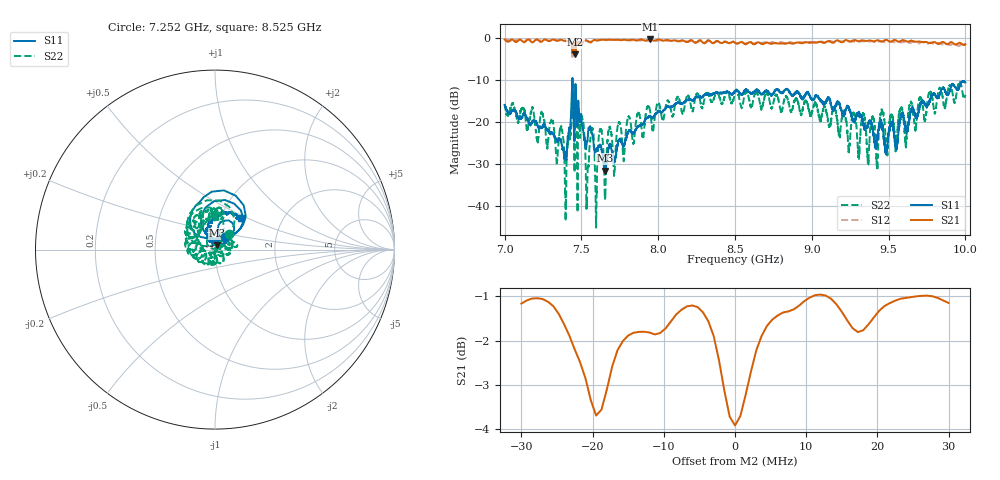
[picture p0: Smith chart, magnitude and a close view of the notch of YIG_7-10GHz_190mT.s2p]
#  HZ  S  RI  R  50.0
! Rohde & Schwarz ZVL13 2Ports - Version 3.31 - 1303.6509k13 SN: 101088
! Date: 2023-03-06 15:25:08
! Data & Calibration Information:
! Trc4:S11(TOSM) Trc2:S21(TOSM) Trc3:S12(TOSM) Trc5:S22(TOSM)
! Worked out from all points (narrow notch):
!   4000 points, 7 GHz to 10 GHz, reference 50 ohm
!   highest |S21| = -0.35 dB at 7.947 GHz (marker M1); lowest = -3.9 dB at 7.461 GHz (marker M2)
!   notch at M2: 3.0 dB deep, 5.01 MHz wide at half that depth
!   lowest |S11| = -31.5 dB at 7.652 GHz (marker M3), VSWR 1.05, Z = 51 + j2.48 ohm
!   |S11| at or under -10 dB: start of sweep to 7.441 GHz; 7.443 GHz to end of sweep
!   |S22| runs from -45.1 to -10.6 dB; largest |S21 - S12| = 0.11
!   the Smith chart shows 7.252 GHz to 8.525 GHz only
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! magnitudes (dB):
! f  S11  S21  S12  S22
! 7 GHz  -15.9  -0.4  -0.5  -15.9
! 7.308 GHz  -22.5  -0.5  -0.6  -19.4
! 7.372 GHz  -25.5  -0.5  -0.5  -21.4
! 7.391 GHz  -28.5  -0.8  -0.7  -30.8
! 7.434 GHz  -16.8  -1.0  -1.0  -20.4
! 7.461 GHz  -11.0  -3.9  -4.0  -12.3
! 7.5 GHz  -19.6  -1.3  -1.0  -17.9
! 7.536 GHz  -24.7  -0.7  -0.8  -38.1
! 7.568 GHz  -22.7  -1.0  -0.8  -21.8
! 7.594 GHz  -26.8  -0.6  -0.7  -42.2
! 7.624 GHz  -25.6  -0.5  -0.6  -21.6
! 7.652 GHz  -31.5  -0.5  -0.6  -37.2
! 7.683 GHz  -25.4  -0.5  -0.6  -21.1
! 7.713 GHz  -29.3  -0.5  -0.6  -32.5
! 7.744 GHz  -24.2  -0.5  -0.6  -20.2
! 7.775 GHz  -25.5  -0.5  -0.6  -28.8
! 7.947 GHz  -18.7  -0.3  -0.7  -17.3
! 8 GHz  -17.4  -0.4  -0.7  -15.4
! 8.5 GHz  -12.6  -1.2  -1.2  -13.2
! 9 GHz  -14.5  -1.2  -1.0  -17.9
! 9.5 GHz  -22.6  -0.8  -0.9  -22.5
! 10 GHz  -10.6  -1.6  -1.8  -13.5
